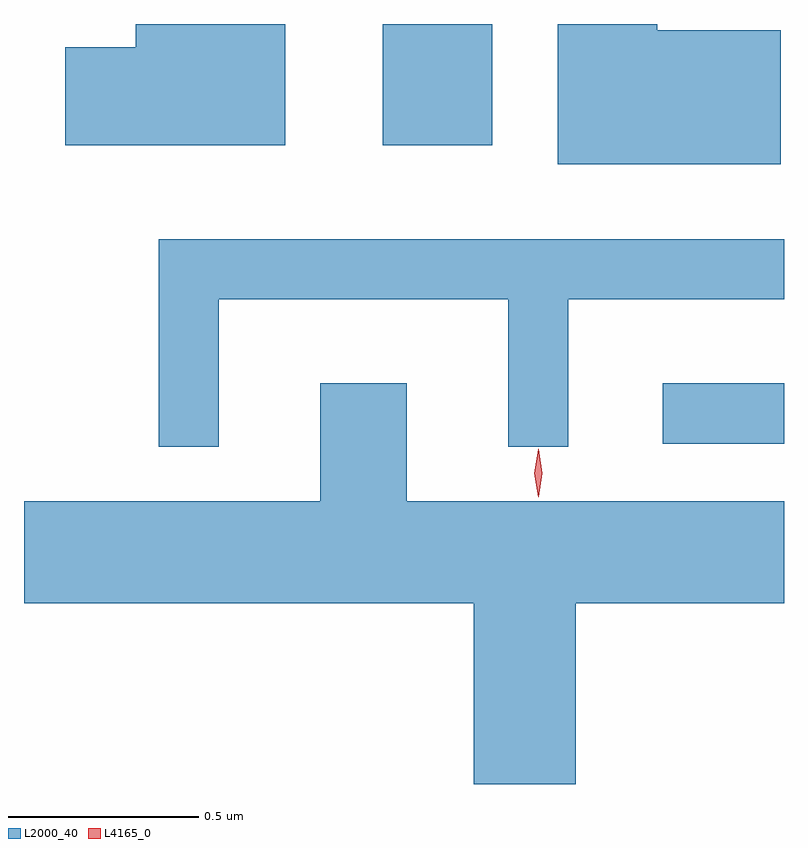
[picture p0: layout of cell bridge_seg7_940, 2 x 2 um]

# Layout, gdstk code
import gdstk
lib = gdstk.Library(unit=1e-6, precision=1e-09)
def R(c, l, rs):  # rectangles x0, y0, x1, y1
    for r in rs: c.add(gdstk.rectangle(r[:2], r[2:], *l))
def P(c, l, *ps):  # polygons
    for p in ps: c.add(gdstk.Polygon(p, *l))
L2000_40 = (2000, 40)
L4165_0 = (4165, 0)

bridge_seg7_940 = lib.new_cell('bridge_seg7_940')
R(bridge_seg7_940, L2000_40, [(455.333,1719.176,455.652,1719.334), (454.596,1719.961,454.884,1720.28)])
P(bridge_seg7_940, L2000_40, [(454.339,1720.28),(453.946,1720.28),(453.946,1720.219),(453.761,1720.219),(453.761,1719.961),(454.339,1719.961)],
  [(455.644,1720.264),(455.319,1720.264),(455.319,1720.28),(455.056,1720.28),(455.056,1719.911),(455.644,1719.911)],
  [(454.164,1719.556),(454.926,1719.556),(454.926,1719.168),(455.084,1719.168),(455.084,1719.556),(455.652,1719.556),(455.652,1719.714),(454.006,1719.714),(454.006,1719.168),(454.164,1719.168)],
  [(455.104,1718.756),(455.652,1718.756),(455.652,1719.024),(454.659,1719.024),(454.659,1719.334),(454.431,1719.334),(454.431,1719.024),(453.652,1719.024),(453.652,1718.756),(454.836,1718.756),(454.836,1718.28),(455.104,1718.28)])
P(bridge_seg7_940, L4165_0, [(455.006,1719.035),(455.005,1719.036),(454.995,1719.098),(455.005,1719.161),(455.005,1719.162),(455.006,1719.161),(455.016,1719.098),(455.006,1719.036)])

lib.write_gds('bridge_seg7_940.gds')
